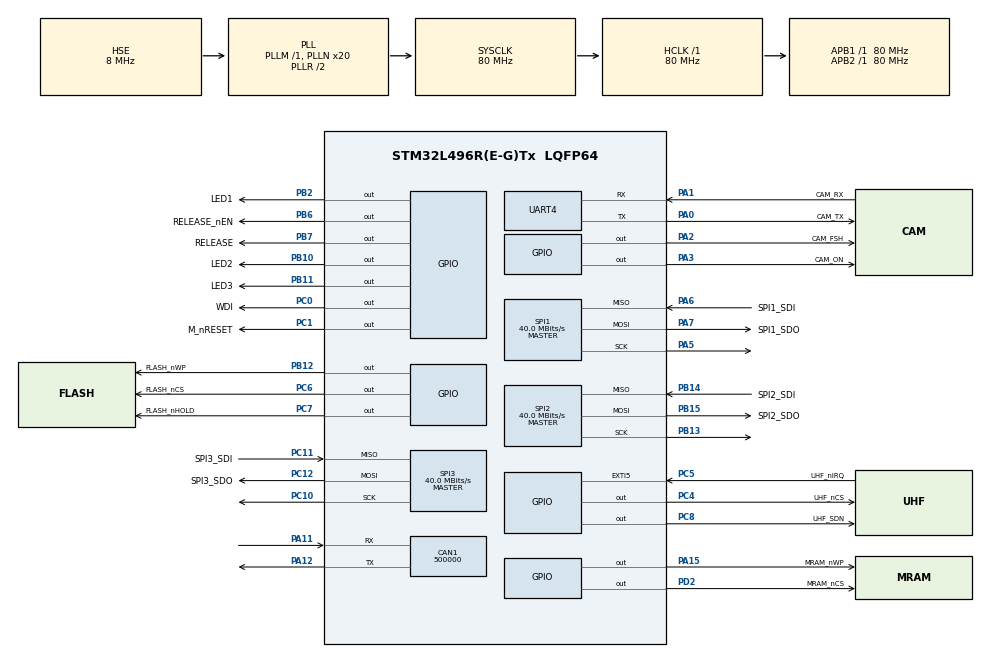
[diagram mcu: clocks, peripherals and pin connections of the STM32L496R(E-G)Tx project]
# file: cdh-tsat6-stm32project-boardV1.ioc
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CAN1.BS1=CAN_BS1_5TQ
CAN1.BS2=CAN_BS2_4TQ
CAN1.CalculateBaudRate=500000
CAN1.CalculateTimeBit=2000
CAN1.CalculateTimeQuantum=200.0
Dma.Request0=UART4_RX
Dma.UART4_RX.0.Direction=DMA_PERIPH_TO_MEMORY
Dma.UART4_RX.0.Instance=DMA2_Channel5
Dma.UART4_RX.0.MemDataAlignment=DMA_MDATAALIGN_BYTE
Dma.UART4_RX.0.MemInc=DMA_MINC_ENABLE
Dma.UART4_RX.0.Mode=DMA_NORMAL
Dma.UART4_RX.0.PeriphDataAlignment=DMA_PDATAALIGN_BYTE
Dma.UART4_RX.0.PeriphInc=DMA_PINC_DISABLE
Dma.UART4_RX.0.Priority=DMA_PRIORITY_VERY_HIGH
FREERTOS.Queues01=canQueue,100,CANMessage_t,0,Dynamic,NULL,NULL;telemQueue,100,TelemetryMessage_t,0,Dynamic,NULL,NULL
FREERTOS.Tasks01=blinkLED1,24,128,StartBlinkLED1,Default,NULL,Dynamic,NULL,NULL;blinkLED2,24,128,StartBlinkLED2,Default,NULL,Dynamic,NULL,NULL;blinkLED3,24,128,StartBlinkLED3,Default,NULL,Dynamic,NULL,NULL;toggleWDI,24,128,StartToggleWDI,Default,NULL,Dynamic,NULL,NULL;canCmdHandler,40,128,StartCanCmdHandler,Default,NULL,Dynamic,NULL,NULL;telemHandler,40,128,StartTelemHandler,Default,NULL,Dynamic,NULL,NULL;timeTagTask,24,128,StartTimeTagTask,Default,NULL,Dynamic,NULL,NULL
FREERTOS.configTOTAL_HEAP_SIZE=100000
FREERTOS.configUSE_NEWLIB_REENTRANT=1
Mcu.Family=STM32L4
Mcu.Name=STM32L496R(E-G)Tx
Mcu.Package=LQFP64
NVIC.CAN1_RX0_IRQn=true\:5\:0\:false\:false\:true\:true\:true\:true\:true
NVIC.DMA2_Channel5_IRQn=true\:5\:0\:false\:false\:true\:true\:false\:true\:true
NVIC.PriorityGroup=NVIC_PRIORITYGROUP_4
NVIC.RTC_Alarm_IRQn=true\:5\:0\:false\:false\:true\:true\:true\:true\:true
NVIC.TIM6_DAC_IRQn=true\:15\:0\:false\:false\:true\:false\:false\:true\:true
NVIC.TimeBase=TIM6_DAC_IRQn
NVIC.TimeBaseIP=TIM6
NVIC.UART4_IRQn=true\:5\:0\:false\:false\:true\:true\:true\:true\:true
PA0.GPIO_Label=CAM_TX
PA0.Mode=Asynchronous
PA0.Signal=UART4_TX
PA1.GPIO_Label=CAM_RX
PA1.Mode=Asynchronous
PA1.Signal=UART4_RX
PA11.Mode=CAN_Activate
PA11.Signal=CAN1_RX
PA12.Mode=CAN_Activate
PA12.Signal=CAN1_TX
PA13\ (JTMS/SWDIO).Mode=Trace_Asynchronous_SW
PA13\ (JTMS/SWDIO).Signal=SYS_JTMS-SWDIO
PA14\ (JTCK/SWCLK).Mode=Trace_Asynchronous_SW
PA14\ (JTCK/SWCLK).Signal=SYS_JTCK-SWCLK
PA15\ (JTDI).GPIO_Label=MRAM_nWP
PA15\ (JTDI).Signal=GPIO_Output
PA2.GPIO_Label=CAM_FSH
PA2.Signal=GPIO_Output
PA3.GPIO_Label=CAM_ON
PA3.Signal=GPIO_Output
PA5.Mode=Full_Duplex_Master
PA5.Signal=SPI1_SCK
PA6.GPIO_Label=SPI1_SDI
PA6.Mode=Full_Duplex_Master
PA6.Signal=SPI1_MISO
PA7.GPIO_Label=SPI1_SDO
PA7.Mode=Full_Duplex_Master
PA7.Signal=SPI1_MOSI
PB10.GPIO_Label=LED2
PB10.Signal=GPIO_Output
PB11.GPIO_Label=LED3
PB11.Signal=GPIO_Output
PB12.GPIO_Label=FLASH_nWP
PB12.Signal=GPIO_Output
PB13.Mode=Full_Duplex_Master
PB13.Signal=SPI2_SCK
PB14.GPIO_Label=SPI2_SDI
PB14.Mode=Full_Duplex_Master
PB14.Signal=SPI2_MISO
PB15.GPIO_Label=SPI2_SDO
PB15.Mode=Full_Duplex_Master
PB15.Signal=SPI2_MOSI
PB2.GPIO_Label=LED1
PB2.Signal=GPIO_Output
PB3\ (JTDO/TRACESWO).Mode=Trace_Asynchronous_SW
PB3\ (JTDO/TRACESWO).Signal=SYS_JTDO-SWO
PB6.GPIO_Label=RELEASE_nEN
PB6.PinState=GPIO_PIN_SET
PB6.Signal=GPIO_Output
PB7.GPIO_Label=RELEASE
PB7.Signal=GPIO_Output
PC0.GPIO_Label=WDI
PC0.Signal=GPIO_Output
PC1.GPIO_Label=M_nRESET
PC1.PinState=GPIO_PIN_SET
PC1.Signal=GPIO_Output
PC10.Mode=Full_Duplex_Master
PC10.Signal=SPI3_SCK
PC11.GPIO_Label=SPI3_SDI
PC11.Mode=Full_Duplex_Master
PC11.Signal=SPI3_MISO
PC12.GPIO_Label=SPI3_SDO
PC12.Mode=Full_Duplex_Master
PC12.Signal=SPI3_MOSI
PC14-OSC32_IN\ (PC14).Mode=LSE-External-Oscillator
PC14-OSC32_IN\ (PC14).Signal=RCC_OSC32_IN
PC15-OSC32_OUT\ (PC15).Mode=LSE-External-Oscillator
PC15-OSC32_OUT\ (PC15).Signal=RCC_OSC32_OUT
PC4.GPIO_Label=UHF_nCS
PC4.PinState=GPIO_PIN_SET
PC4.Signal=GPIO_Output
PC5.GPIO_Label=UHF_nIRQ
PC5.Signal=GPXTI5
PC6.GPIO_Label=FLASH_nCS
PC6.PinState=GPIO_PIN_SET
PC6.Signal=GPIO_Output
PC7.GPIO_Label=FLASH_nHOLD
PC7.PinState=GPIO_PIN_SET
PC7.Signal=GPIO_Output
PC8.GPIO_Label=UHF_SDN
PC8.Signal=GPIO_Output
PD2.GPIO_Label=MRAM_nCS
PD2.PinState=GPIO_PIN_SET
PD2.Signal=GPIO_Output
PH0-OSC_IN\ (PH0).Mode=HSE-External-Oscillator
PH0-OSC_IN\ (PH0).Signal=RCC_OSC_IN
PH1-OSC_OUT\ (PH1).Mode=HSE-External-Oscillator
PH1-OSC_OUT\ (PH1).Signal=RCC_OSC_OUT
ProjectManager.HeapSize=0x200
ProjectManager.StackSize=0x400
ProjectManager.TargetToolchain=STM32CubeIDE
RCC.ADCFreq_Value=32000000
RCC.AHBFreq_Value=80000000
RCC.APB1Freq_Value=80000000
RCC.APB1TimFreq_Value=80000000
RCC.APB2Freq_Value=80000000
RCC.APB2TimFreq_Value=80000000
RCC.CortexFreq_Value=80000000
RCC.EnbaleCSS=true
RCC.HCLKFreq_Value=80000000
RCC.HSE_Timout=200
RCC.HSE_VALUE=8000000
RCC.HSI48_VALUE=48000000
RCC.HSI_VALUE=16000000
RCC.LSE_Timout=500
RCC.MSI_VALUE=4000000
RCC.PLLN=20
RCC.PLLSourceVirtual=RCC_PLLSOURCE_HSE
RCC.SYSCLKFreq_VALUE=80000000
RCC.SYSCLKSource=RCC_SYSCLKSOURCE_PLLCLK
RCC.USBFreq_Value=32000000
RCC.VCOOutputFreq_Value=160000000
RTC.Alarm-Alarm\ A=RTC_ALARM_A
RTC.AlarmDateWeekDay-Alarm\ A=2
RTC.Format=RTC_FORMAT_BIN
SPI1.CalculateBaudRate=40.0 MBits/s
SPI1.DataSize=SPI_DATASIZE_8BIT
SPI1.Direction=SPI_DIRECTION_2LINES
SPI1.Mode=SPI_MODE_MASTER
SPI1.VirtualType=VM_MASTER
SPI2.CalculateBaudRate=40.0 MBits/s
SPI2.DataSize=SPI_DATASIZE_8BIT
SPI2.Direction=SPI_DIRECTION_2LINES
SPI2.Mode=SPI_MODE_MASTER
SPI2.VirtualType=VM_MASTER
SPI3.CalculateBaudRate=40.0 MBits/s
SPI3.DataSize=SPI_DATASIZE_8BIT
SPI3.Direction=SPI_DIRECTION_2LINES
SPI3.Mode=SPI_MODE_MASTER
SPI3.VirtualType=VM_MASTER
VP_CRC_VS_CRC.Mode=CRC_Activate
VP_FREERTOS_VS_CMSIS_V2.Mode=CMSIS_V2
VP_RTC_VS_RTC_Activate.Mode=RTC_Enabled
VP_RTC_VS_RTC_Alarm_A_Intern.Mode=Alarm A
VP_RTC_VS_RTC_Calendar.Mode=RTC_Calendar
VP_SYS_VS_tim6.Mode=TIM6
board=custom

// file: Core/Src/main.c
/* USER CODE BEGIN Header */
/**
  ******************************************************************************
  * @file           : main.c
  * @brief          : Main program body
  ******************************************************************************
  * @attention
  *
  * Copyright (c) 2023 STMicroelectronics.
  * All rights reserved.
  *
  * This software is licensed under terms that can be found in the LICENSE file
  * in the root directory of this software component.
  * If no LICENSE file comes with this software, it is provided AS-IS.
  *
  ******************************************************************************
  * AUTHORS:
  *  Daigh Burgess (daigh.burgess@umsats.ca)
  *   -Application Code
  *  Kyle James (kyle.james@umsats.ca)
  *   -RTC Interfacing
  *  Christina Duong (christina.duong@umsats.ca)
  *   -FreeRTOS Code
  */
/* USER CODE END Header */
#include "main.h"
#include "cmsis_os.h"

/* USER CODE BEGIN Includes */
#include <stdio.h>
#include <stdlib.h>

#include "camera_driver.h"
#include "camera_driver_test.h"
#include "W25N_driver.h"
#include "W25N_driver_test.h"
#include "AS3001204_driver.h"
#include "AS3001204_driver_test.h"
#include "LEDs_driver.h"
#include "MAX6822_driver.h"
#include "LTC1154_driver.h"
#include "can.h"
#include "telemetry.h"
#include "utils.h"
/* USER CODE END Includes */

CAN_HandleTypeDef hcan1;

CRC_HandleTypeDef hcrc;

RTC_HandleTypeDef hrtc;

SPI_HandleTypeDef hspi1;
SPI_HandleTypeDef hspi2;
SPI_HandleTypeDef hspi3;

UART_HandleTypeDef huart4;
DMA_HandleTypeDef hdma_uart4_rx;

/* Definitions for blinkLED1 */
osThreadId_t blinkLED1Handle;
const osThreadAttr_t blinkLED1_attributes = {
  .name = "blinkLED1",
  .stack_size = 128 * 4,
  .priority = (osPriority_t) osPriorityNormal,
};
/* Definitions for blinkLED2 */
osThreadId_t blinkLED2Handle;
const osThreadAttr_t blinkLED2_attributes = {
  .name = "blinkLED2",
  .stack_size = 128 * 4,
  .priority = (osPriority_t) osPriorityNormal,
};
/* Definitions for blinkLED3 */
osThreadId_t blinkLED3Handle;
const osThreadAttr_t blinkLED3_attributes = {
  .name = "blinkLED3",
  .stack_size = 128 * 4,
  .priority = (osPriority_t) osPriorityNormal,
};
/* Definitions for toggleWDI */
osThreadId_t toggleWDIHandle;
const osThreadAttr_t toggleWDI_attributes = {
  .name = "toggleWDI",
  .stack_size = 128 * 4,
  .priority = (osPriority_t) osPriorityNormal,
};
/* Definitions for canCmdHandler */
osThreadId_t canCmdHandlerHandle;
const osThreadAttr_t canCmdHandler_attributes = {
  .name = "canCmdHandler",
  .stack_size = 128 * 4,
  .priority = (osPriority_t) osPriorityHigh,
};
/* Definitions for telemHandler */
osThreadId_t telemHandlerHandle;
const osThreadAttr_t telemHandler_attributes = {
  .name = "telemHandler",
  .stack_size = 128 * 4,
  .priority = (osPriority_t) osPriorityHigh,
};
/* Definitions for timeTagTask */
osThreadId_t timeTagTaskHandle;
const osThreadAttr_t timeTagTask_attributes = {
  .name = "timeTagTask",
  .stack_size = 128 * 4,
  .priority = (osPriority_t) osPriorityNormal,
};
/* Definitions for canQueue */
osMessageQueueId_t canQueueHandle;
const osMessageQueueAttr_t canQueue_attributes = {
  .name = "canQueue"
};
/* Definitions for telemQueue */
osMessageQueueId_t telemQueueHandle;
const osMessageQueueAttr_t telemQueue_attributes = {
  .name = "telemQueue"
};
/* USER CODE BEGIN PV */
//###############################################################################################
//Run-To-Completion Tasks
//###############################################################################################
/* Definitions for stm32Reset */
osThreadId_t stm32ResetHandle;
const osThreadAttr_t stm32Reset_attributes = {
  .name = "stm32Reset",
  .stack_size = 128 * 4,
  .priority = (osPriority_t) osPriorityNormal,
};
/* Definitions for flashUnitTest */
osThreadId_t flashUnitTestHandle;
const osThreadAttr_t flashUnitTest_attributes = {
  .name = "flashUnitTest",
  .stack_size = 2048 * 4,
  .priority = (osPriority_t) osPriorityNormal,
};
/* Definitions for mramUnitTest */
osThreadId_t mramUnitTestHandle;
const osThreadAttr_t mramUnitTest_attributes = {
  .name = "mramUnitTest",
  .stack_size = 256 * 4,
  .priority = (osPriority_t) osPriorityNormal,
};
/* Definitions for deployA */
osThreadId_t deployAHandle;
const osThreadAttr_t deployA_attributes = {
  .name = "deployA",
  .stack_size = 128 * 4,
  .priority = (osPriority_t) osPriorityNormal,
};
/* Definitions for deployB */
osThreadId_t deployBHandle;
const osThreadAttr_t deployB_attributes = {
  .name = "deployB",
  .stack_size = 128 * 4,
  .priority = (osPriority_t) osPriorityNormal,
};
/* Definitions for takePicture */
osThreadId_t takePictureHandle;
const osThreadAttr_t takePicture_attributes = {
  .name = "takePicture",
  .stack_size = 128 * 4,
  .priority = (osPriority_t) osPriorityNormal,
};
/* Definitions for getTasksNum */
osThreadId_t getTasksNumHandle;
const osThreadAttr_t getTasksNum_attributes = {
  .name = "getTasksNum",
  .stack_size = 128 * 4,
  .priority = (osPriority_t) osPriorityNormal,
};
/* Definitions for timeTagTaskInit */
osThreadId_t timeTagTaskInitHandle;
const osThreadAttr_t timeTagTaskInit_attributes = {
  .name = "timeTagTaskInit",
  .stack_size = 128 * 4,
  .priority = (osPriority_t) osPriorityNormal,
};
/* Definitions for setRTC */
osThreadId_t setRTCHandle;
const osThreadAttr_t setRTC_attributes = {
  .name = "setRTC",
  .stack_size = 128 * 4,
  .priority = (osPriority_t) osPriorityNormal,
};
/* Definitions for getRTC */
osThreadId_t getRTCHandle;
const osThreadAttr_t getRTC_attributes = {
  .name = "getRTC",
  .stack_size = 128 * 4,
  .priority = (osPriority_t) osPriorityNormal,
};
/* USER CODE END PV */

void SystemClock_Config(void);
static void MX_GPIO_Init(void);
static void MX_DMA_Init(void);
static void MX_CAN1_Init(void);
static void MX_SPI1_Init(void);
static void MX_SPI2_Init(void);
static void MX_SPI3_Init(void);
static void MX_UART4_Init(void);
static void MX_RTC_Init(void);
static void MX_CRC_Init(void);
void StartBlinkLED1(void *argument);
void StartBlinkLED2(void *argument);
void StartBlinkLED3(void *argument);
void StartToggleWDI(void *argument);
void StartCanCmdHandler(void *argument);
void StartTelemHandler(void *argument);
void StartTimeTagTask(void *argument);

/* USER CODE BEGIN PFP */
//###############################################################################################
//Run-To-Completion Tasks
//###############################################################################################
void StartStm32Reset(void *argument);
void StartFlashUnitTest(void *argument);
void StartMramUnitTest(void *argument);
void StartDeployA(void *argument);
void StartDeployB(void *argument);
void StartTakePicture(void *argument);
void StartGetTasksNum(void *argument);
void StartTimeTagTaskInit(void *argument);
void StartSetRTC(void *argument);
void StartGetRTC(void *argument);
/* USER CODE END PFP */

int main(void)
{

  /* MCU Configuration--------------------------------------------------------*/

  /* Reset of all peripherals, Initializes the Flash interface and the Systick. */
  HAL_Init();

  /* Configure the system clock */
  SystemClock_Config();

  /* Initialize all configured peripherals */
  MX_GPIO_Init();
  MX_DMA_Init();
  MX_CAN1_Init();
  MX_SPI1_Init();
  MX_SPI2_Init();
  MX_SPI3_Init();
  MX_UART4_Init();
  MX_RTC_Init();
  MX_CRC_Init();
  /* USER CODE BEGIN 2 */
  //disable the automatically enabled RTC alarm
  HAL_StatusTypeDef rtc_alarm_operation_status;
  rtc_alarm_operation_status = HAL_RTC_DeactivateAlarm(&hrtc, RTC_ALARM_A);
  if (rtc_alarm_operation_status != HAL_OK) goto error;

  MAX6822_Init();

  LEDs_Init();

  LTC1154_Init();

  HAL_StatusTypeDef can_operation_status;
  can_operation_status = CAN_Init();
  if (can_operation_status != HAL_OK) goto error;

  W25N_StatusTypeDef w25n_operation_status;
  w25n_operation_status = W25N_Init();
  if (w25n_operation_status != W25N_HAL_OK) goto error;

  HAL_StatusTypeDef as3001204_operation_status;
  as3001204_operation_status = AS3001204_Init();
  if (as3001204_operation_status != HAL_OK) goto error;

  //this code performs the W25N unit tests
  //this code should be completed after power cycling the W25N
  /*w25n_operation_status = Test_W25N();
  if (w25n_operation_status != W25N_HAL_OK) goto error;
  w25n_operation_status = W25N_Reset_And_Init();
  if (w25n_operation_status != W25N_HAL_OK) goto error;*/

  //this code performs the AS3001204 unit tests
  //this code should be completed after power cycling the AS3001204
  /*as3001204_operation_status = AS3001204_Test_MRAM_Driver();
  if (as3001204_operation_status != HAL_OK) goto error;
  as3001204_operation_status = AS3001204_Init();
  if (as3001204_operation_status != HAL_OK) goto error;*/

  //this code performs the piCAM unit test
  //NOTE: piCAM initialization is completed by the MX_USART1_UART_Init function
  //NOTE: piCAM_Test_Procedure(); will NOT return a HAL_StatusTypeDef as it is a void type
  // It ONLY follows this specific sequence
  // - Follows Boot Up Sequence
  // - HAL Delay of 3000ms
  // - Sends "t\0" over UART4 for test string
  // - HAL Delay of 3000ms
  // - Sends "d\0" over UART4 for image capture request, then immediately after
  //   we start DMA for specific image data.
  /*piCAM_Test_Procedure();*/

  /* USER CODE END 2 */

  /* Init scheduler */
  osKernelInitialize();

  /* Create the queue(s) */
  /* creation of canQueue */
  canQueueHandle = osMessageQueueNew (100, sizeof(CANMessage_t), &canQueue_attributes);

  /* creation of telemQueue */
  telemQueueHandle = osMessageQueueNew (100, sizeof(TelemetryMessage_t), &telemQueue_attributes);

  /* Create the thread(s) */
  /* creation of blinkLED1 */
  blinkLED1Handle = osThreadNew(StartBlinkLED1, NULL, &blinkLED1_attributes);

  /* creation of blinkLED2 */
  blinkLED2Handle = osThreadNew(StartBlinkLED2, NULL, &blinkLED2_attributes);

  /* creation of blinkLED3 */
  blinkLED3Handle = osThreadNew(StartBlinkLED3, NULL, &blinkLED3_attributes);

  /* creation of toggleWDI */
  toggleWDIHandle = osThreadNew(StartToggleWDI, NULL, &toggleWDI_attributes);

  /* creation of canCmdHandler */
  canCmdHandlerHandle = osThreadNew(StartCanCmdHandler, NULL, &canCmdHandler_attributes);

  /* creation of telemHandler */
  telemHandlerHandle = osThreadNew(StartTelemHandler, NULL, &telemHandler_attributes);

  /* creation of timeTagTask */
  timeTagTaskHandle = osThreadNew(StartTimeTagTask, NULL, &timeTagTask_attributes);

  /* Start scheduler */
  osKernelStart();

  /* We should never get here as control is now taken by the scheduler */
  /* Infinite loop */
  while (1)
  {

    /* USER CODE BEGIN 3 */
  }

error:
  exit(1);
  /* USER CODE END 3 */
}

void SystemClock_Config(void)
{
  RCC_OscInitTypeDef RCC_OscInitStruct = {0};
  RCC_ClkInitTypeDef RCC_ClkInitStruct = {0};

  /** Configure the main internal regulator output voltage
  */
  if (HAL_PWREx_ControlVoltageScaling(PWR_REGULATOR_VOLTAGE_SCALE1) != HAL_OK)
  {
    Error_Handler();
  }

  /** Initializes the RCC Oscillators according to the specified parameters
  * in the RCC_OscInitTypeDef structure.
  */
  RCC_OscInitStruct.OscillatorType = RCC_OSCILLATORTYPE_LSI|RCC_OSCILLATORTYPE_HSE;
  RCC_OscInitStruct.HSEState = RCC_HSE_ON;
  RCC_OscInitStruct.LSIState = RCC_LSI_ON;
  RCC_OscInitStruct.PLL.PLLState = RCC_PLL_ON;
  RCC_OscInitStruct.PLL.PLLSource = RCC_PLLSOURCE_HSE;
  RCC_OscInitStruct.PLL.PLLM = 1;
  RCC_OscInitStruct.PLL.PLLN = 20;
  RCC_OscInitStruct.PLL.PLLP = RCC_PLLP_DIV2;
  RCC_OscInitStruct.PLL.PLLQ = RCC_PLLQ_DIV2;
  RCC_OscInitStruct.PLL.PLLR = RCC_PLLR_DIV2;
  if (HAL_RCC_OscConfig(&RCC_OscInitStruct) != HAL_OK)
  {
    Error_Handler();
  }

  /** Initializes the CPU, AHB and APB buses clocks
  */
  RCC_ClkInitStruct.ClockType = RCC_CLOCKTYPE_HCLK|RCC_CLOCKTYPE_SYSCLK
                              |RCC_CLOCKTYPE_PCLK1|RCC_CLOCKTYPE_PCLK2;
  RCC_ClkInitStruct.SYSCLKSource = RCC_SYSCLKSOURCE_PLLCLK;
  RCC_ClkInitStruct.AHBCLKDivider = RCC_SYSCLK_DIV1;
  RCC_ClkInitStruct.APB1CLKDivider = RCC_HCLK_DIV1;
  RCC_ClkInitStruct.APB2CLKDivider = RCC_HCLK_DIV1;

  if (HAL_RCC_ClockConfig(&RCC_ClkInitStruct, FLASH_LATENCY_4) != HAL_OK)
  {
    Error_Handler();
  }

  /** Enables the Clock Security System
  */
  HAL_RCC_EnableCSS();
}

static void MX_CAN1_Init(void)
{

  hcan1.Instance = CAN1;
  hcan1.Init.Prescaler = 16;
  hcan1.Init.Mode = CAN_MODE_NORMAL;
  hcan1.Init.SyncJumpWidth = CAN_SJW_1TQ;
  hcan1.Init.TimeSeg1 = CAN_BS1_5TQ;
  hcan1.Init.TimeSeg2 = CAN_BS2_4TQ;
  hcan1.Init.TimeTriggeredMode = DISABLE;
  hcan1.Init.AutoBusOff = DISABLE;
  hcan1.Init.AutoWakeUp = DISABLE;
  hcan1.Init.AutoRetransmission = DISABLE;
  hcan1.Init.ReceiveFifoLocked = DISABLE;
  hcan1.Init.TransmitFifoPriority = DISABLE;
  if (HAL_CAN_Init(&hcan1) != HAL_OK)
  {
    Error_Handler();
  }

}

static void MX_CRC_Init(void)
{

  hcrc.Instance = CRC;
  hcrc.Init.DefaultPolynomialUse = DEFAULT_POLYNOMIAL_ENABLE;
  hcrc.Init.DefaultInitValueUse = DEFAULT_INIT_VALUE_ENABLE;
  hcrc.Init.InputDataInversionMode = CRC_INPUTDATA_INVERSION_NONE;
  hcrc.Init.OutputDataInversionMode = CRC_OUTPUTDATA_INVERSION_DISABLE;
  hcrc.InputDataFormat = CRC_INPUTDATA_FORMAT_BYTES;
  if (HAL_CRC_Init(&hcrc) != HAL_OK)
  {
    Error_Handler();
  }

}

static void MX_RTC_Init(void)
{

  RTC_TimeTypeDef sTime = {0};
  RTC_DateTypeDef sDate = {0};
  RTC_AlarmTypeDef sAlarm = {0};

  /** Initialize RTC Only
  */
  hrtc.Instance = RTC;
  hrtc.Init.HourFormat = RTC_HOURFORMAT_24;
  hrtc.Init.AsynchPrediv = 127;
  hrtc.Init.SynchPrediv = 255;
  hrtc.Init.OutPut = RTC_OUTPUT_DISABLE;
  hrtc.Init.OutPutRemap = RTC_OUTPUT_REMAP_NONE;
  hrtc.Init.OutPutPolarity = RTC_OUTPUT_POLARITY_HIGH;
  hrtc.Init.OutPutType = RTC_OUTPUT_TYPE_OPENDRAIN;
  if (HAL_RTC_Init(&hrtc) != HAL_OK)
  {
    Error_Handler();
  }

  /** Initialize RTC and set the Time and Date
  */
  sTime.Hours = 0;
  sTime.Minutes = 0;
  sTime.Seconds = 0;
  sTime.DayLightSaving = RTC_DAYLIGHTSAVING_NONE;
  sTime.StoreOperation = RTC_STOREOPERATION_RESET;
  if (HAL_RTC_SetTime(&hrtc, &sTime, RTC_FORMAT_BIN) != HAL_OK)
  {
    Error_Handler();
  }
  sDate.WeekDay = RTC_WEEKDAY_MONDAY;
  sDate.Month = RTC_MONTH_JANUARY;
  sDate.Date = 1;
  sDate.Year = 0;

  if (HAL_RTC_SetDate(&hrtc, &sDate, RTC_FORMAT_BIN) != HAL_OK)
  {
    Error_Handler();
  }

  /** Enable the Alarm A
  */
  sAlarm.AlarmTime.Hours = 0;
  sAlarm.AlarmTime.Minutes = 0;
  sAlarm.AlarmTime.Seconds = 0;
  sAlarm.AlarmTime.SubSeconds = 0;
  sAlarm.AlarmTime.DayLightSaving = RTC_DAYLIGHTSAVING_NONE;
  sAlarm.AlarmTime.StoreOperation = RTC_STOREOPERATION_RESET;
  sAlarm.AlarmMask = RTC_ALARMMASK_NONE;
  sAlarm.AlarmSubSecondMask = RTC_ALARMSUBSECONDMASK_ALL;
  sAlarm.AlarmDateWeekDaySel = RTC_ALARMDATEWEEKDAYSEL_DATE;
  sAlarm.AlarmDateWeekDay = 2;
  sAlarm.Alarm = RTC_ALARM_A;
  if (HAL_RTC_SetAlarm_IT(&hrtc, &sAlarm, RTC_FORMAT_BIN) != HAL_OK)
  {
    Error_Handler();
  }

}

static void MX_SPI1_Init(void)
{

  /* SPI1 parameter configuration*/
  hspi1.Instance = SPI1;
  hspi1.Init.Mode = SPI_MODE_MASTER;
  hspi1.Init.Direction = SPI_DIRECTION_2LINES;
  hspi1.Init.DataSize = SPI_DATASIZE_8BIT;
  hspi1.Init.CLKPolarity = SPI_POLARITY_LOW;
  hspi1.Init.CLKPhase = SPI_PHASE_1EDGE;
  hspi1.Init.NSS = SPI_NSS_SOFT;
  hspi1.Init.BaudRatePrescaler = SPI_BAUDRATEPRESCALER_2;
  hspi1.Init.FirstBit = SPI_FIRSTBIT_MSB;
  hspi1.Init.TIMode = SPI_TIMODE_DISABLE;
  hspi1.Init.CRCCalculation = SPI_CRCCALCULATION_DISABLE;
  hspi1.Init.CRCPolynomial = 7;
  hspi1.Init.CRCLength = SPI_CRC_LENGTH_DATASIZE;
  hspi1.Init.NSSPMode = SPI_NSS_PULSE_ENABLE;
  if (HAL_SPI_Init(&hspi1) != HAL_OK)
  {
    Error_Handler();
  }

}

static void MX_SPI2_Init(void)
{

  /* SPI2 parameter configuration*/
  hspi2.Instance = SPI2;
  hspi2.Init.Mode = SPI_MODE_MASTER;
  hspi2.Init.Direction = SPI_DIRECTION_2LINES;
  hspi2.Init.DataSize = SPI_DATASIZE_8BIT;
  hspi2.Init.CLKPolarity = SPI_POLARITY_LOW;
  hspi2.Init.CLKPhase = SPI_PHASE_1EDGE;
  hspi2.Init.NSS = SPI_NSS_SOFT;
  hspi2.Init.BaudRatePrescaler = SPI_BAUDRATEPRESCALER_2;
  hspi2.Init.FirstBit = SPI_FIRSTBIT_MSB;
  hspi2.Init.TIMode = SPI_TIMODE_DISABLE;
  hspi2.Init.CRCCalculation = SPI_CRCCALCULATION_DISABLE;
  hspi2.Init.CRCPolynomial = 7;
  hspi2.Init.CRCLength = SPI_CRC_LENGTH_DATASIZE;
  hspi2.Init.NSSPMode = SPI_NSS_PULSE_ENABLE;
  if (HAL_SPI_Init(&hspi2) != HAL_OK)
  {
    Error_Handler();
  }

}

static void MX_SPI3_Init(void)
{

  /* SPI3 parameter configuration*/
  hspi3.Instance = SPI3;
  hspi3.Init.Mode = SPI_MODE_MASTER;
  hspi3.Init.Direction = SPI_DIRECTION_2LINES;
  hspi3.Init.DataSize = SPI_DATASIZE_8BIT;
  hspi3.Init.CLKPolarity = SPI_POLARITY_LOW;
  hspi3.Init.CLKPhase = SPI_PHASE_1EDGE;
  hspi3.Init.NSS = SPI_NSS_SOFT;
  hspi3.Init.BaudRatePrescaler = SPI_BAUDRATEPRESCALER_2;
  hspi3.Init.FirstBit = SPI_FIRSTBIT_MSB;
  hspi3.Init.TIMode = SPI_TIMODE_DISABLE;
  hspi3.Init.CRCCalculation = SPI_CRCCALCULATION_DISABLE;
  hspi3.Init.CRCPolynomial = 7;
  hspi3.Init.CRCLength = SPI_CRC_LENGTH_DATASIZE;
  hspi3.Init.NSSPMode = SPI_NSS_PULSE_ENABLE;
  if (HAL_SPI_Init(&hspi3) != HAL_OK)
  {
    Error_Handler();
  }

}

static void MX_UART4_Init(void)
{

  huart4.Instance = UART4;
  huart4.Init.BaudRate = 115200;
  huart4.Init.WordLength = UART_WORDLENGTH_8B;
  huart4.Init.StopBits = UART_STOPBITS_1;
  huart4.Init.Parity = UART_PARITY_NONE;
  huart4.Init.Mode = UART_MODE_TX_RX;
  huart4.Init.HwFlowCtl = UART_HWCONTROL_NONE;
  huart4.Init.OverSampling = UART_OVERSAMPLING_16;
  huart4.Init.OneBitSampling = UART_ONE_BIT_SAMPLE_DISABLE;
  huart4.AdvancedInit.AdvFeatureInit = UART_ADVFEATURE_NO_INIT;
  if (HAL_UART_Init(&huart4) != HAL_OK)
  {
    Error_Handler();
  }

}

static void MX_DMA_Init(void)
{

  /* DMA controller clock enable */
  __HAL_RCC_DMA2_CLK_ENABLE();

  /* DMA interrupt init */
  /* DMA2_Channel5_IRQn interrupt configuration */
  HAL_NVIC_SetPriority(DMA2_Channel5_IRQn, 5, 0);
  HAL_NVIC_EnableIRQ(DMA2_Channel5_IRQn);

}

static void MX_GPIO_Init(void)
{
  GPIO_InitTypeDef GPIO_InitStruct = {0};

  /* GPIO Ports Clock Enable */
  __HAL_RCC_GPIOC_CLK_ENABLE();
  __HAL_RCC_GPIOH_CLK_ENABLE();
  __HAL_RCC_GPIOA_CLK_ENABLE();
  __HAL_RCC_GPIOB_CLK_ENABLE();
  __HAL_RCC_GPIOD_CLK_ENABLE();

  /*Configure GPIO pin Output Level */
  HAL_GPIO_WritePin(GPIOC, WDI_Pin|UHF_SDN_Pin, GPIO_PIN_RESET);

  /*Configure GPIO pin Output Level */
  HAL_GPIO_WritePin(GPIOC, M_nRESET_Pin|UHF_nCS_Pin|FLASH_nCS_Pin|FLASH_nHOLD_Pin, GPIO_PIN_SET);

  /*Configure GPIO pin Output Level */
  HAL_GPIO_WritePin(GPIOA, CAM_FSH_Pin|CAM_ON_Pin|MRAM_nWP_Pin, GPIO_PIN_RESET);

  /*Configure GPIO pin Output Level */
  HAL_GPIO_WritePin(GPIOB, LED1_Pin|LED2_Pin|LED3_Pin|FLASH_nWP_Pin
                          |RELEASE_Pin, GPIO_PIN_RESET);

  /*Configure GPIO pin Output Level */
  HAL_GPIO_WritePin(MRAM_nCS_GPIO_Port, MRAM_nCS_Pin, GPIO_PIN_SET);

  /*Configure GPIO pin Output Level */
  HAL_GPIO_WritePin(RELEASE_nEN_GPIO_Port, RELEASE_nEN_Pin, GPIO_PIN_SET);

  /*Configure GPIO pins : WDI_Pin M_nRESET_Pin UHF_nCS_Pin FLASH_nCS_Pin
                           FLASH_nHOLD_Pin UHF_SDN_Pin */
  GPIO_InitStruct.Pin = WDI_Pin|M_nRESET_Pin|UHF_nCS_Pin|FLASH_nCS_Pin
                          |FLASH_nHOLD_Pin|UHF_SDN_Pin;
  GPIO_InitStruct.Mode = GPIO_MODE_OUTPUT_PP;
  GPIO_InitStruct.Pull = GPIO_NOPULL;
  GPIO_InitStruct.Speed = GPIO_SPEED_FREQ_LOW;
  HAL_GPIO_Init(GPIOC, &GPIO_InitStruct);

  /*Configure GPIO pins : CAM_FSH_Pin CAM_ON_Pin MRAM_nWP_Pin */
  GPIO_InitStruct.Pin = CAM_FSH_Pin|CAM_ON_Pin|MRAM_nWP_Pin;
  GPIO_InitStruct.Mode = GPIO_MODE_OUTPUT_PP;
  GPIO_InitStruct.Pull = GPIO_NOPULL;
  GPIO_InitStruct.Speed = GPIO_SPEED_FREQ_LOW;
  HAL_GPIO_Init(GPIOA, &GPIO_InitStruct);

  /*Configure GPIO pin : UHF_nIRQ_Pin */
  GPIO_InitStruct.Pin = UHF_nIRQ_Pin;
  GPIO_InitStruct.Mode = GPIO_MODE_IT_RISING;
  GPIO_InitStruct.Pull = GPIO_NOPULL;
  HAL_GPIO_Init(UHF_nIRQ_GPIO_Port, &GPIO_InitStruct);

  /*Configure GPIO pins : LED1_Pin LED2_Pin LED3_Pin FLASH_nWP_Pin
                           RELEASE_nEN_Pin RELEASE_Pin */
  GPIO_InitStruct.Pin = LED1_Pin|LED2_Pin|LED3_Pin|FLASH_nWP_Pin
                          |RELEASE_nEN_Pin|RELEASE_Pin;
  GPIO_InitStruct.Mode = GPIO_MODE_OUTPUT_PP;
  GPIO_InitStruct.Pull = GPIO_NOPULL;
  GPIO_InitStruct.Speed = GPIO_SPEED_FREQ_LOW;
  HAL_GPIO_Init(GPIOB, &GPIO_InitStruct);

  /*Configure GPIO pin : MRAM_nCS_Pin */
  GPIO_InitStruct.Pin = MRAM_nCS_Pin;
  GPIO_InitStruct.Mode = GPIO_MODE_OUTPUT_PP;
  GPIO_InitStruct.Pull = GPIO_NOPULL;
  GPIO_InitStruct.Speed = GPIO_SPEED_FREQ_LOW;
  HAL_GPIO_Init(MRAM_nCS_GPIO_Port, &GPIO_InitStruct);

}

/* USER CODE BEGIN 4 */
//###############################################################################################
//Interrupt Service Routines
//###############################################################################################
/**
  * @brief  RTC alarm A callback
  * @param  hrtc: pointer to a RTC_HandleTypeDef structure that contains
  *         the configuration information for the specified RTC.
  * @retval None
  */
void HAL_RTC_AlarmAEventCallback(RTC_HandleTypeDef *hrtc)
{
  osThreadFlagsSet(timeTagTaskHandle, 0x0001);
}

/**
  * @brief  UART Rx message pending callback
  * @param  huart: pointer to a UART_HandleTypeDef structure that contains
  *         the configuration information for the specified UART.
  * @retval None
  */
void HAL_UART_RxCpltCallback(UART_HandleTypeDef *huart)
{
  piCAM_Receive_Check();
}

/**
  * @brief  CAN Rx Fifo 0 message pending callback
  * @param  hcan: pointer to a CAN_HandleTypeDef structure that contains
  *         the configuration information for the specified CAN.
  * @retval None
  */
void HAL_CAN_RxFifo0MsgPendingCallback(CAN_HandleTypeDef *hcan1)
{
  HAL_StatusTypeDef operation_status;
  operation_status = CAN_Message_Received();
  if (operation_status != HAL_OK)
  {
    //TODO: Implement error handling for CAN message receives
  }
}

//###############################################################################################
//Run-To-Completion Tasks
//###############################################################################################
/**
* @brief Function implementing the stm32Reset thread.
* @param argument: pointer to CANMessage_t struct (the CAN message that invoked this command)
* @retval None
*/
void StartStm32Reset(void *argument)
{
  CANMessage_t can_message = *((CANMessage_t*)argument);

  CAN_Send_Default_ACK(can_message);
  MAX6822_Manual_Reset();

  osThreadExit();
}

/**
* @brief Function implementing the flashUnitTest thread.
* @param argument: pointer to CANMessage_t struct (the CAN message that invoked this command)
* @retval None
*/
void StartFlashUnitTest(void *argument)
{
  CANMessage_t can_message = *((CANMessage_t*)argument);
  W25N_StatusTypeDef test_result = Test_W25N();
  uint8_t response_data[6] = {test_result,0,0,0,0,0};

  CAN_Send_Default_ACK_With_Data(can_message, response_data);

  osThreadExit();
}

/**
* @brief Function implementing the mramUnitTest thread.
* @param argument: pointer to CANMessage_t struct (the CAN message that invoked this command)
* @retval None
*/
void StartMramUnitTest(void *argument)
{
  CANMessage_t can_message = *((CANMessage_t*)argument);
  W25N_StatusTypeDef test_result = AS3001204_Test_MRAM_Driver();
  uint8_t response_data[6] = {test_result,0,0,0,0,0};

  CAN_Send_Default_ACK_With_Data(can_message, response_data);

  osThreadExit();
}

/**
* @brief Function implementing the deployA thread.
* @param argument: pointer to CANMessage_t struct (the CAN message that invoked this command)
* @retval None
*/
void StartDeployA(void *argument)
{
  CANMessage_t can_message = *((CANMessage_t*)argument);

  CAN_Send_Default_ACK(can_message);
  LTC1154_Enable();

  osThreadExit();
}

/**
* @brief Function implementing the deployB thread.
* @param argument: pointer to CANMessage_t struct (the CAN message that invoked this command)
* @retval None
*/
void StartDeployB(void *argument)
{
  CANMessage_t can_message = *((CANMessage_t*)argument);

  CAN_Send_Default_ACK(can_message);
  LTC1154_On();

  osThreadExit();
}

/**
* @brief Function implementing the takePicture thread.
* @param argument: not used
* @retval None
*/
void StartTakePicture(void *argument)
{
  piCAM_Test_Procedure();

  osThreadExit();
}

/**
* @brief Function implementing the getTasksNum thread.
* @param argument: pointer to CANMessage_t struct (the CAN message that invoked this command)
* @retval None
*/
void StartGetTasksNum(void *argument)
{
  CANMessage_t can_message = *((CANMessage_t*)argument);
  uint8_t tasks_num = (uint8_t) osThreadGetCount();
  uint8_t response_data[6] = {tasks_num,0,0,0,0,0};

  CAN_Send_Default_ACK_With_Data(can_message, response_data);

  osThreadExit();
}

/**
* @brief Function implementing the timeTagTaskInit thread.
* @param argument: pointer to CANMessage_t struct (the CAN message that invoked this command)
* @retval None
*/
void StartTimeTagTaskInit(void *argument)
{
  HAL_StatusTypeDef operation_status;
  RTC_AlarmTypeDef rtc_alarm;
  CANMessage_t can_message = *((CANMessage_t*)argument);
  uint32_t unix_timestamp = four_byte_array_to_uint32(can_message.data);
  RTC_TimeTypeDef rtc_time = unix_timestamp_to_rtc_time(unix_timestamp);
  RTC_DateTypeDef rtc_date = unix_timestamp_to_rtc_date(unix_timestamp);

  rtc_alarm.AlarmTime = rtc_time;
  rtc_alarm.AlarmMask = RTC_ALARMMASK_NONE;
  rtc_alarm.SubSeconds = 0;
  rtc_alarm.AlarmSubSecondMask = RTC_ALARMSUBSECONDMASK_ALL;
  rtc_alarm.AlarmDateWeekDaySel = RTC_ALARMDATEWEEKDAYSEL_DATE;
  rtc_alarm.AlarmDateWeekDay = rtc_date.Date;
  rtc_alarm.Alarm = RTC_ALARM_A;

  operation_status = HAL_RTC_SetAlarm_IT(&hrtc, &rtc_alarm, RTC_FORMAT_BIN);

  if (operation_status == HAL_OK)
  {
    CAN_Send_Default_ACK(can_message);
  }
  else
  {
    CAN_Send_Default_NACK(can_message);
  }

  osThreadExit();
}

/**
* @brief Function implementing the setRTC thread.
* @param argument: pointer to CANMessage_t struct (the CAN message that invoked this command)
* @retval None
*/
void StartSetRTC(void *argument)
{
  HAL_StatusTypeDef operation_status;
  CANMessage_t can_message = *((CANMessage_t*)argument);
  uint32_t unix_timestamp = four_byte_array_to_uint32(can_message.data);
  RTC_TimeTypeDef rtc_time = unix_timestamp_to_rtc_time(unix_timestamp);
  RTC_DateTypeDef rtc_date = unix_timestamp_to_rtc_date(unix_timestamp);

  operation_status = HAL_RTC_SetTime(&hrtc, &rtc_time, RTC_FORMAT_BIN);
  if (operation_status != HAL_OK) goto error;
  operation_status = HAL_RTC_SetDate(&hrtc, &rtc_date, RTC_FORMAT_BIN);

error:
  if (operation_status == HAL_OK)
  {
    CAN_Send_Default_ACK(can_message);
  }
  else
  {
    CAN_Send_Default_NACK(can_message);
  }

  osThreadExit();
}

/**
* @brief Function implementing the getRTC thread.
* @param argument: pointer to CANMessage_t struct (the CAN message that invoked this command)
* @retval None
*/
void StartGetRTC(void *argument)
{
  HAL_StatusTypeDef operation_status;
  RTC_TimeTypeDef rtc_time;
  RTC_DateTypeDef rtc_date;
  uint32_t unix_timestamp;
  uint8_t response_data[6] = {0,0,0,0,0,0};
  CANMessage_t can_message = *((CANMessage_t*)argument);

  operation_status = HAL_RTC_GetTime(&hrtc, &rtc_time, RTC_FORMAT_BIN);
  if (operation_status != HAL_OK) goto error;
  operation_status = HAL_RTC_GetDate(&hrtc, &rtc_date, RTC_FORMAT_BIN);
  if (operation_status != HAL_OK) goto error;

  unix_timestamp = rtc_to_unix_timestamp(rtc_time, rtc_date);
  uint32_to_four_byte_array(unix_timestamp, response_data);

error:
  if (operation_status == HAL_OK)
  {
    CAN_Send_Default_ACK_With_Data(can_message, response_data);
  }
  else
  {
    CAN_Send_Default_NACK(can_message);
  }

  osThreadExit();
}
/* USER CODE END 4 */

void StartBlinkLED1(void *argument)
{
  /* USER CODE BEGIN 5 */
  /* Infinite loop */
  for(;;)
  {
    LED1_Toggle();
    osDelay(1000);
  }
  osThreadExit();
  /* USER CODE END 5 */
}

void StartBlinkLED2(void *argument)
{
  /* USER CODE BEGIN StartBlinkLED2 */
  /* Infinite loop */
  for(;;)
  {
    LED2_Toggle();
    osDelay(500);
  }
  osThreadExit();
  /* USER CODE END StartBlinkLED2 */
}

void StartBlinkLED3(void *argument)
{
  /* USER CODE BEGIN StartBlinkLED3 */
  /* Infinite loop */
  for(;;)
  {
    LED3_Toggle();
    osDelay(250);
  }
  osThreadExit();
  /* USER CODE END StartBlinkLED3 */
}

void StartToggleWDI(void *argument)
{
  /* USER CODE BEGIN StartToggleWDI */
  /* Infinite loop */
  for(;;)
  {
    MAX6822_WDI_Toggle();
    osDelay(100);
  }
  osThreadExit();
  /* USER CODE END StartToggleWDI */
}

void StartCanCmdHandler(void *argument)
{
  /* USER CODE BEGIN StartCanCmdHandler */
  CANMessage_t can_message;
  /* Infinite loop */
  for(;;)
  {
    osMessageQueueGet(canQueueHandle, &can_message, NULL, osWaitForever);
    switch (can_message.command)
    {
      case 0x40:
        stm32ResetHandle = osThreadNew(StartStm32Reset, &can_message, &stm32Reset_attributes);
        break;
      case 0x41:
        flashUnitTestHandle = osThreadNew(StartFlashUnitTest, &can_message, &flashUnitTest_attributes);
        break;
      case 0x42:
        mramUnitTestHandle = osThreadNew(StartMramUnitTest, &can_message, &mramUnitTest_attributes);
        break;
      case 0x43:
        deployAHandle = osThreadNew(StartDeployA, &can_message, &deployA_attributes);
        break;
      case 0x44:
        deployBHandle = osThreadNew(StartDeployB, &can_message, &deployB_attributes);
        break;
      case 0x45:
        takePictureHandle = osThreadNew(StartTakePicture, NULL, &takePicture_attributes);
        break;
      case 0x47:
        getTasksNumHandle = osThreadNew(StartGetTasksNum, &can_message, &getTasksNum_attributes);
        break;
      case 0x48:
        timeTagTaskInitHandle = osThreadNew(StartTimeTagTaskInit, &can_message, &timeTagTaskInit_attributes);
        break;
      case 0x49:
        setRTCHandle = osThreadNew(StartSetRTC, &can_message, &setRTC_attributes);
        break;
      case 0x4A:
        getRTCHandle = osThreadNew(StartGetRTC, &can_message, &getRTC_attributes);
        break;
      default:
        break;
    }
  }
  osThreadExit();
  /* USER CODE END StartCanCmdHandler */
}

void StartTelemHandler(void *argument)
{
  /* USER CODE BEGIN StartTelemHandler */
  TelemetryMessage_t telemetry_message;
  /* Infinite loop */
  for(;;)
  {
    osMessageQueueGet(telemQueueHandle, &telemetry_message, NULL, osWaitForever);
    switch(telemetry_message.id)
    {
      //TODO: Implement telemetry handling
    }
  }
  osThreadExit();
  /* USER CODE END StartTelemHandler */
}

void StartTimeTagTask(void *argument)
{
  /* USER CODE BEGIN StartTimeTagTask */
  /* Infinite loop */
  for(;;)
  {
    //block until thread resumed from RTC alarm ISR
    osThreadFlagsWait(0x0001, osFlagsWaitAny, osWaitForever);

    HAL_StatusTypeDef operation_status;
    CANMessage_t ack_message =
    {
      .priority = 0b0000111,
      .SenderID = 0x1,
      .DestinationID = 0x1,
      .command = 0x01,
      .data = {0x48, 0x01, 0x00, 0x00, 0x00, 0x00, 0x00}
    };

    operation_status = CAN_Transmit_Message(ack_message);
    if (operation_status != HAL_OK) goto error;
    operation_status = HAL_RTC_DeactivateAlarm(&hrtc, RTC_ALARM_A);

error:
    if (operation_status != HAL_OK)
    {
      //TODO: Implement error handling for StartTimeTagTask
    }
  }
  osThreadExit();
  /* USER CODE END StartTimeTagTask */
}

void HAL_TIM_PeriodElapsedCallback(TIM_HandleTypeDef *htim)
{
  if (htim->Instance == TIM6) {
    HAL_IncTick();
  }
}

void Error_Handler(void)
{
  __disable_irq();
  while (1)
  {
  }
}

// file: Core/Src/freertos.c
/* USER CODE BEGIN Header */
/**
  ******************************************************************************
  * File Name          : freertos.c
  * Description        : Code for freertos applications
  ******************************************************************************
  * @attention
  *
  * Copyright (c) 2022 STMicroelectronics.
  * All rights reserved.
  *
  * This software is licensed under terms that can be found in the LICENSE file
  * in the root directory of this software component.
  * If no LICENSE file comes with this software, it is provided AS-IS.
  *
  ******************************************************************************
  */
/* USER CODE END Header */

#include "FreeRTOS.h"
#include "task.h"
#include "main.h"

/* GetIdleTaskMemory prototype (linked to static allocation support) */
void vApplicationGetIdleTaskMemory( StaticTask_t **ppxIdleTaskTCBBuffer, StackType_t **ppxIdleTaskStackBuffer, uint32_t *pulIdleTaskStackSize );

/* USER CODE BEGIN GET_IDLE_TASK_MEMORY */
static StaticTask_t xIdleTaskTCBBuffer;
static StackType_t xIdleStack[configMINIMAL_STACK_SIZE];

void vApplicationGetIdleTaskMemory( StaticTask_t **ppxIdleTaskTCBBuffer, StackType_t **ppxIdleTaskStackBuffer, uint32_t *pulIdleTaskStackSize )
{
  *ppxIdleTaskTCBBuffer = &xIdleTaskTCBBuffer;
  *ppxIdleTaskStackBuffer = &xIdleStack[0];
  *pulIdleTaskStackSize = configMINIMAL_STACK_SIZE;
  /* place for user code */
}
/* USER CODE END GET_IDLE_TASK_MEMORY */
